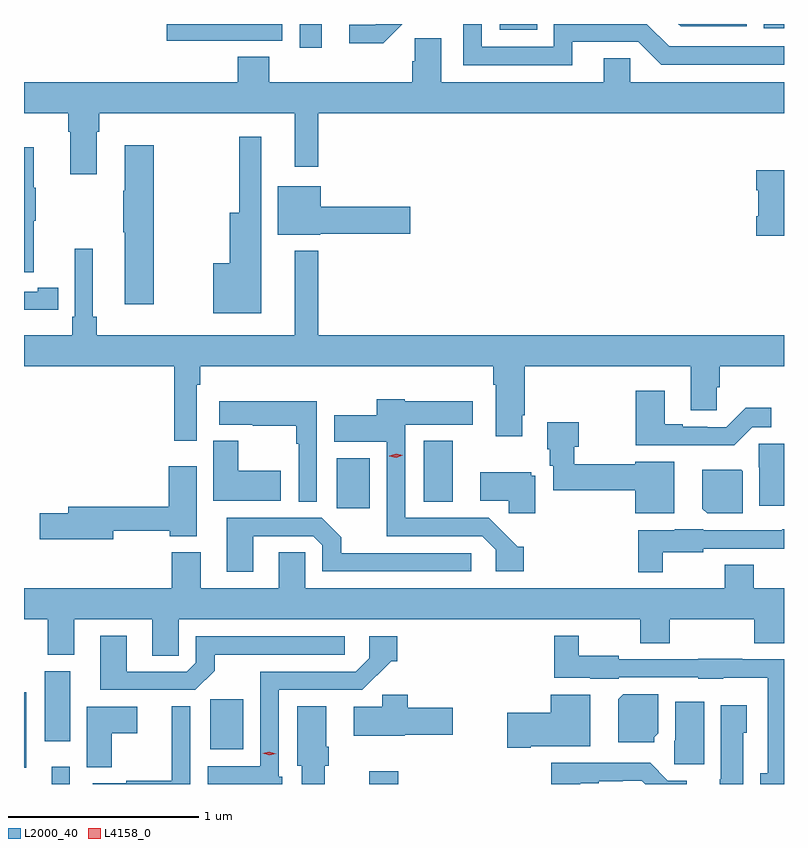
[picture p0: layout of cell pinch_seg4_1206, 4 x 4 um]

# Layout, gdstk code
import gdstk
lib = gdstk.Library(unit=1e-6, precision=1e-09)
def R(c, l, rs):  # rectangles x0, y0, x1, y1
    for r in rs: c.add(gdstk.rectangle(r[:2], r[2:], *l))
def P(c, l, *ps):  # polygons
    for p in ps: c.add(gdstk.Polygon(p, *l))
L2000_40 = (2000, 40)
L4158_0 = (4158, 0)

pinch_seg4_1206 = lib.new_cell('pinch_seg4_1206')
R(pinch_seg4_1206, L2000_40, [(313.916,807.942,314.013,808.033), (315.587,807.942,315.74,808.009), (313.771,808.027,313.783,808.426), (314.75,808.124,314.926,808.388), (313.88,808.167,314.014,808.536), (315.416,809.393,315.592,809.656), (315.875,809.428,316.027,809.749), (315.222,811.818,315.337,811.942), (316.275,811.913,316.473,811.942), (317.664,811.92,317.771,811.942)])
P(pinch_seg4_1206, L2000_40, [(317.574,811.942),(317.215,811.942),(317.228,811.929),(317.574,811.929)],
  [(314.813,811.854),(315.129,811.854),(315.129,811.942),(314.521,811.942),(314.521,811.853),(314.813,811.853)],
  [(315.763,811.942),(315.621,811.942),(315.617,811.938),(315.483,811.938),(315.483,811.841),(315.661,811.841)],
  [(316.657,811.848),(317.004,811.848),(317.124,811.728),(317.771,811.728),(317.771,811.824),(317.166,811.824),(317.048,811.942),(316.56,811.942),(316.56,811.821),(316.179,811.821),(316.179,811.942),(316.083,811.942),(316.083,811.725),(316.657,811.725)],
  [(314.155,811.376),(314.168,811.376),(314.168,811.472),(315.197,811.472),(315.197,811.191),(315.319,811.191),(315.319,811.472),(317.771,811.472),(317.771,811.636),(316.962,811.636),(316.962,811.763),(316.823,811.763),(316.823,811.636),(315.967,811.636),(315.967,811.868),(315.828,811.868),(315.828,811.745),(315.815,811.745),(315.815,811.636),(315.062,811.636),(315.062,811.769),(314.897,811.769),(314.897,811.636),(313.771,811.636),(313.771,811.472),(314.003,811.472),(314.003,811.376),(314.015,811.376),(314.015,811.152),(314.155,811.152)],
  [(315.019,811.348),(314.905,811.348),(314.905,810.949),(314.854,810.949),(314.854,810.682),(314.768,810.682),(314.768,810.419),(315.019,810.419)],
  [(314.454,811.303),(314.3,811.303),(314.3,811.064),(314.293,811.064),(314.293,810.847),(314.3,810.847),(314.3,810.468),(314.454,810.468)],
  [(313.823,810.907),(313.834,810.907),(313.834,811.081),(313.823,811.081),(313.823,811.294),(313.771,811.294),(313.771,810.636),(313.823,810.636)],
  [(317.771,811.171),(317.624,811.171),(317.624,811.067),(317.636,811.067),(317.636,810.931),(317.624,810.931),(317.624,810.827),(317.771,810.827)],
  [(315.33,810.839),(315.805,810.839),(315.805,810.981),(315.334,810.981),(315.334,811.087),(315.107,811.087),(315.107,810.833),(315.33,810.833)],
  [(314.679,810.044),(314.699,810.044),(314.699,810.14),(316.241,810.14),(316.241,810.044),(316.253,810.044),(316.253,809.772),(316.393,809.772),(316.393,809.884),(316.406,809.884),(316.406,810.14),(317.279,810.14),(317.279,809.908),(317.418,809.908),(317.418,810.03),(317.432,810.03),(317.432,810.14),(317.771,810.14),(317.771,810.304),(315.319,810.304),(315.319,810.748),(315.197,810.748),(315.197,810.304),(314.153,810.304),(314.153,810.4),(314.134,810.4),(314.134,810.76),(314.037,810.76),(314.037,810.4),(314.024,810.4),(314.024,810.304),(313.771,810.304),(313.771,810.14),(314.563,810.14),(314.563,809.748),(314.679,809.748)],
  [(313.844,810.438),(313.952,810.438),(313.952,810.554),(313.844,810.554),(313.844,810.534),(313.771,810.534),(313.771,810.437),(313.844,810.437)],
  [(317.604,809.82),(317.704,809.82),(317.704,809.923),(317.569,809.923),(317.466,809.82),(317.366,809.82),(317.366,809.823),(317.239,809.823),(317.239,809.836),(317.143,809.836),(317.143,810.013),(316.991,810.013),(316.991,809.726),(317.509,809.726)],
  [(316.402,809.191),(316.37,809.191),(316.218,809.343),(315.777,809.343),(315.777,809.834),(316.132,809.834),(316.132,809.956),(315.774,809.956),(315.774,809.968),(315.628,809.968),(315.628,809.884),(315.405,809.884),(315.405,809.744),(315.681,809.744),(315.681,809.247),(316.182,809.247),(316.254,809.175),(316.254,809.061),(316.402,809.061)],
  [(315.312,809.956),(314.799,809.956),(314.799,809.834),(314.976,809.834),(314.976,809.828),(315.204,809.828),(315.204,809.732),(315.216,809.732),(315.216,809.428),(315.312,809.428)],
  [(317.194,809.638),(316.988,809.638),(316.988,809.624),(316.666,809.624),(316.666,809.717),(316.692,809.717),(316.692,809.847),(316.526,809.847),(316.526,809.705),(316.537,809.705),(316.537,809.616),(316.557,809.616),(316.557,809.488),(316.988,809.488),(316.988,809.366),(317.194,809.366)],
  [(315.121,809.59),(314.898,809.59),(314.898,809.749),(314.768,809.749),(314.768,809.432),(315.121,809.432)],
  [(317.771,809.733),(317.638,809.733),(317.638,809.61),(317.642,809.61),(317.642,809.406),(317.771,809.406)],
  [(314.242,809.274),(314.539,809.274),(314.539,809.246),(314.68,809.246),(314.68,809.614),(314.534,809.614),(314.534,809.402),(314.003,809.402),(314.003,809.366),(313.854,809.366),(313.854,809.231),(314.242,809.231)],
  [(317.554,809.588),(317.546,809.596),(317.342,809.596),(317.342,809.392),(317.368,809.366),(317.554,809.366)],
  [(316.462,809.565),(316.44,809.565),(316.44,809.584),(316.173,809.584),(316.173,809.432),(316.323,809.432),(316.323,809.367),(316.462,809.367)],
  [(314.977,809.247),(315.294,809.247),(315.342,809.199),(315.342,809.061),(316.126,809.061),(316.126,809.157),(315.441,809.157),(315.441,809.241),(315.339,809.343),(314.837,809.343),(314.837,809.058),(314.977,809.058)],
  [(317.134,809.162),(317.346,809.162),(317.346,809.181),(317.763,809.181),(317.763,809.18),(317.771,809.18),(317.771,809.284),(317.763,809.284),(317.763,809.277),(317.346,809.277),(317.346,809.284),(317.196,809.284),(317.196,809.278),(317.005,809.278),(317.005,809.057),(317.134,809.057)],
  [(314.586,808.808),(317.014,808.808),(317.014,808.684),(317.169,808.684),(317.169,808.808),(317.614,808.808),(317.614,808.684),(317.771,808.684),(317.771,808.972),(317.613,808.972),(317.613,809.096),(317.458,809.096),(317.458,808.972),(315.252,808.972),(315.252,809.162),(315.113,809.162),(315.113,808.972),(314.701,808.972),(314.701,809.161),(314.549,809.161),(314.549,808.972),(313.771,808.972),(313.771,808.808),(313.895,808.808),(313.895,808.621),(314.035,808.621),(314.035,808.808),(314.447,808.808),(314.447,808.618),(314.586,808.618)],
  [(314.775,808.539),(314.775,808.623),(315.46,808.623),(315.46,808.719),(314.676,808.719),(314.676,808.581),(314.628,808.533),(314.311,808.533),(314.311,808.723),(314.171,808.723),(314.171,808.437),(314.673,808.437)],
  [(317.771,808.599),(317.551,808.599),(317.551,808.601),(317.319,808.601),(317.319,808.599),(316.902,808.599),(316.902,808.618),(316.69,808.618),(316.69,808.723),(316.561,808.723),(316.561,808.502),(316.752,808.502),(316.752,808.496),(316.902,808.496),(316.902,808.503),(317.319,808.503),(317.319,808.496),(317.451,808.496),(317.451,808.502),(317.685,808.502),(317.685,807.998),(317.645,807.998),(317.645,807.942),(317.771,807.942)],
  [(315.13,807.981),(315.111,807.981),(315.111,808.437),(315.552,808.437),(315.704,808.589),(315.736,808.589),(315.736,808.719),(315.588,808.719),(315.588,808.605),(315.516,808.533),(315.015,808.533),(315.015,808.036),(314.739,808.036),(314.739,807.942),(315.13,807.942)],
  [(317.088,808.188),(317.11,808.21),(317.11,808.414),(316.924,808.414),(316.898,808.388),(316.898,808.163),(317.088,808.163)],
  [(315.774,808.202),(316.027,808.202),(316.027,808.344),(315.791,808.344),(315.791,808.413),(315.657,808.413),(315.657,808.348),(315.507,808.348),(315.507,808.196),(315.774,808.196)],
  [(316.437,808.142),(316.75,808.142),(316.75,808.412),(316.544,808.412),(316.544,808.316),(316.314,808.316),(316.314,808.133),(316.437,808.133)],
  [(317.35,808.375),(317.198,808.375),(317.198,808.17),(317.194,808.17),(317.194,808.047),(317.35,808.047)],
  [(317.557,808.212),(317.575,808.212),(317.575,808.357),(317.438,808.357),(317.438,807.966),(317.432,807.966),(317.432,807.942),(317.557,807.942)],
  [(314.646,808.352),(314.549,808.352),(314.549,807.96),(314.31,807.96),(314.31,807.946),(314.133,807.946),(314.133,807.942),(314.646,807.942)],
  [(315.355,808.038),(315.374,808.038),(315.374,808.138),(315.361,808.138),(315.361,808.352),(315.209,808.352),(315.209,808.038),(315.233,808.038),(315.233,807.942),(315.355,807.942)],
  [(314.232,808.208),(314.368,808.208),(314.368,808.348),(314.102,808.348),(314.102,808.031),(314.232,808.031)],
  [(316.699,807.945),(316.795,807.945),(316.795,807.957),(316.922,807.957),(316.922,807.96),(317.022,807.96),(317.04,807.942),(317.26,807.942),(317.26,807.96),(317.16,807.96),(317.066,808.054),(316.547,808.054),(316.547,807.942),(316.699,807.942)])
P(pinch_seg4_1206, L4158_0, [(315.729,809.66),(315.693,809.668),(315.693,809.668),(315.693,809.669),(315.729,809.68),(315.765,809.671),(315.765,809.671),(315.765,809.671)],
  [(315.062,808.093),(315.027,808.104),(315.026,808.105),(315.027,808.105),(315.063,808.113),(315.099,808.102),(315.099,808.102),(315.099,808.102)])

lib.write_gds('pinch_seg4_1206.gds')
